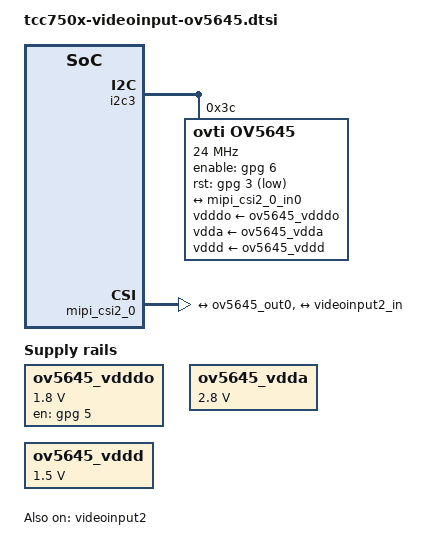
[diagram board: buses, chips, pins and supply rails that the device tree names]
// SPDX-License-Identifier: GPL-2.0-or-later
/*
 * Driver for the OV5645 camera sensor.
 *
 * Copyright (c) 2011-2015, The Linux Foundation. All rights reserved.
 * Copyright (C) 2015 By Tech Design S.L. All Rights Reserved.
 * Copyright (C) 2012-2013 Freescale Semiconductor, Inc. All Rights Reserved.
 *
 * Based on:
 * - the OV5645 driver from QC msm-3.10 kernel on codeaurora.org:
 *   https://us.codeaurora.org/cgit/quic/la/kernel/msm-3.10/tree/drivers/
 *       media/platform/msm/camera_v2/sensor/ov5645.c?h=LA.BR.1.2.4_rb1.41
 * - the OV5640 driver posted on linux-media:
 *   https://www.mail-archive.com/linux-media%40vger.kernel.org/msg92671.html
 */

/ {
	ov5645_vdddo: fixedregulator@0 {
		compatible = "regulator-fixed";
		regulator-name = "ov5645_vdddo";
		regulator-min-microvolt = <1800000>;
		regulator-max-microvolt = <1800000>;
		gpios = <&gpg 5 0x0>;
		enable-active-high;
		regulator-always-on;
	};

	ov5645_vdda: fixedregulator@1 {
		compatible = "regulator-fixed";
		regulator-name = "ov5645_vdda";
		regulator-min-microvolt = <2800000>;
		regulator-max-microvolt = <2800000>;
		enable-active-high;
		regulator-always-on;
	};

	ov5645_vddd: fixedregulator@2 {
		compatible = "regulator-fixed";
		regulator-name = "ov5645_vddd";
		regulator-min-microvolt = <1500000>;
		regulator-max-microvolt = <1500000>;
		enable-active-high;
		regulator-always-on;
	};

	ov5645_clk: ov5645_clk {
		compatible = "fixed-clock";
		#clock-cells = <1>;
		clock-frequency = <24000000>;
	};
};

&i2c3 {
	ov5645@3c {
		compatible = "ovti,ov5645";
		status = "okay";
		reg = <0x3c>;

		clocks = <&ov5645_clk 200>;
		clock-names = "xclk";
		clock-frequency = <24000000>;

		vdddo-supply = <&ov5645_vdddo>;	// 1.8v
		vdda-supply = <&ov5645_vdda>;	// 2.8v
		vddd-supply = <&ov5645_vddd>;	// 1.5v

		enable-gpios = <&gpg 6 GPIO_ACTIVE_HIGH>;
		rst-gpios = <&gpg 3 GPIO_ACTIVE_LOW>;

		ports {
			#address-cells = <1>;
			#size-cells = <0>;
			port@0 {
				reg = <0>;
				ov5645_out0: endpoint@0 {
					remote-endpoint = <&mipi_csi2_0_in0>;
					io-direction = "output";
					channel = <0>;
				};
			};
		};
	};
};

&mipi_csi2_0 {
	status = "okay";
	ports {
		port@0 {
			reg = <0>;
			mipi_csi2_0_in0: endpoint {
				remote-endpoint = <&ov5645_out0>;
				io-direction    = "input";
				num-channel     = <1>;
				channel = <0>;
				/*
				* 0: CH0 only, no data interleave
				* 1: DT only
				* 2: VC only
				* 3: VC and DT
				*/
				interleave-mode = <2>;
				hs-settle = <13>;
				data-lanes = <1 2>;
				};
		};

		port@1 {
			reg = <1>;
			mipi_csi2_0_out0: endpoint {
				remote-endpoint = <&videoinput2_in>;
				io-direction = "output";
				channel = <2>;
				pixel-mode = <1>;
			};
		};
	};
};

&videoinput2 {
	status = "okay";
	cam-ch = <2>;
	memory-region = <0 0 &pmap_rearcamera2 0>;
	port {
		videoinput2_in: endpoint {
			remote-endpoint = <&mipi_csi2_0_out0>;
			io-direction = "input";
			stream-enable = <1>;
			flush-vsync = <1>;
		};
	};
};
